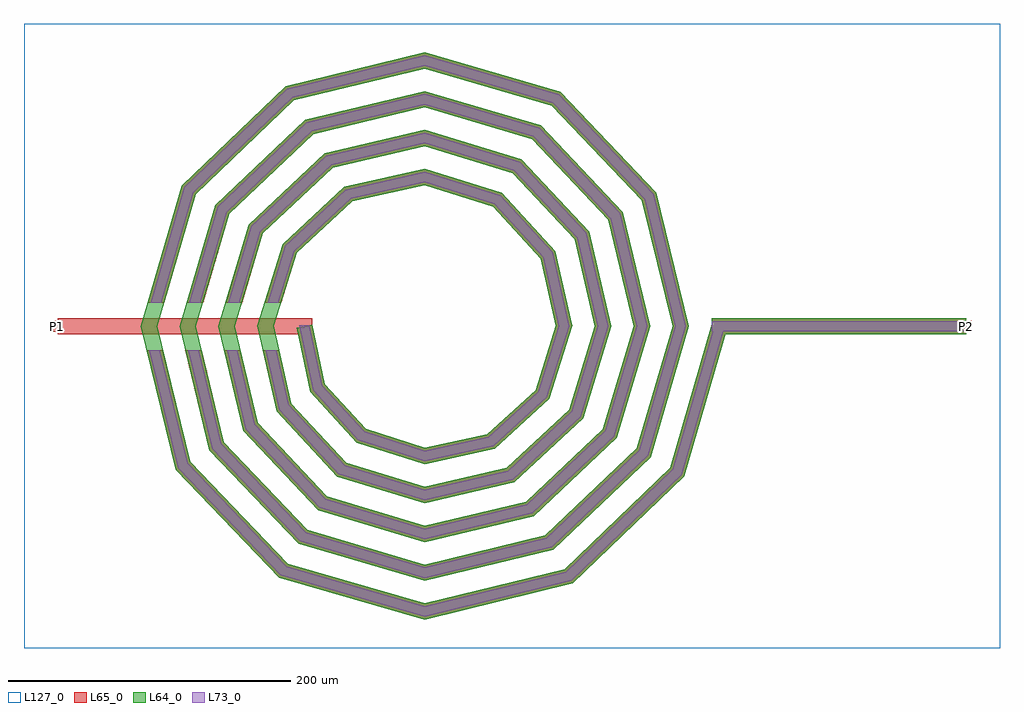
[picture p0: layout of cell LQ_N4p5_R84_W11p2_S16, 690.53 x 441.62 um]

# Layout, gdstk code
import gdstk
lib = gdstk.Library(unit=1e-6, precision=1e-09)
def R(c, l, rs):  # rectangles x0, y0, x1, y1
    for r in rs: c.add(gdstk.rectangle(r[:2], r[2:], *l))
def P(c, l, *ps):  # polygons
    for p in ps: c.add(gdstk.Polygon(p, *l))
L64_0 = (64, 0)
L65_0 = (65, 0)
L73_0 = (73, 0)
L127_0 = (127, 0)

lq_n4p5_r84_w11p2_s16 = lib.new_cell('LQ_N4p5_R84_W11p2_S16')
R(lq_n4p5_r84_w11p2_s16, L64_0, [(203.168,-5.6,383.168,5.6)])
P(lq_n4p5_r84_w11p2_s16, L64_0, [(-70.409,-40.978),(-41.639,-72.674),(0.27,-86.049),(44.399,-76.375),(78.62,-45.095),(92.927,0.251),(82.34,47.822),(48.548,84.568),(0.235,99.804),(-51.247,88.303),(-90.516,52),(-106.682,0.22),(-94.266,-54.674),(-55.45,-96.466),(0.208,-113.559),(58.102,-100.229),(102.416,-58.899),(120.437,0.196),(106.19,61.532),(62.347,108.367),(0.186,127.315),(-64.962,112.152),(-114.319,65.794),(-134.192,0.177),(-118.112,-68.393),(-69.24,-120.271),(0.169,-141.07),(71.825,-124.073),(126.223,-72.686),(147.948,0.161),(130.033,75.258),(76.131,132.176),(0.154,154.826),(-78.691,135.993),(-138.129,79.576),(-161.704,0.148),(-141.952,-82.125),(-83.02,-144.083),(0.142,-168.582),(85.559,-147.911),(150.036,-86.463),(175.46,0.137),(153.87,88.993),(89.907,155.99),(0.132,182.337),(-92.428,159.829),(-161.944,93.35),(-189.215,0.127),(-165.788,-95.863),(-96.793,-167.898),(0.123,-196.093),(99.298,-171.746),(173.853,-100.235),(203.39,1.561),(214.146,-1.561),(183.773,-106.24),(104.884,-181.908),(0.123,-207.686),(-102.804,-177.814),(-175.953,-101.442),(-200.808,0.127),(-171.855,99.369),(-97.999,169.999),(0.132,193.93),(95.934,165.896),(164.045,94.555),(187.052,0.137),(159.937,-92.5),(91.112,-158.091),(0.142,-180.174),(-89.065,-153.977),(-152.137,-87.668),(-173.296,0.148),(-148.018,85.631),(-84.223,146.183),(0.154,166.417),(82.198,142.058),(140.23,80.778),(159.539,0.161),(136.098,-78.765),(77.333,-134.277),(0.169,-152.661),(-75.333,-130.137),(-128.324,-73.887),(-145.783,0.177),(-124.176,71.901),(-70.44,122.372),(0.186,138.905),(68.47,118.215),(116.42,66.993),(132.026,0.196),(112.253,-65.04),(63.544,-110.469),(0.208,-125.148),(-61.611,-106.29),(-104.518,-60.094),(-118.27,0.22),(-100.326,58.183),(-56.643,98.568),(0.235,111.391),(54.757,94.362),(92.619,53.19),(104.512,0.251),(88.396,-51.332),(49.735,-86.671),(0.27,-97.634),(-47.91,-82.429),(-80.724,-46.278),(-90.438,-1.179),(-79.489,1.179)])
R(lq_n4p5_r84_w11p2_s16, L65_0, [(-259.364,-5.6,-79.364,5.6), (203.168,-5.6,383.168,5.6), (-263.364,-4,-255.364,4), (379.168,-4,387.168,4)])
P(lq_n4p5_r84_w11p2_s16, L65_0, [(-165.788,-95.863),(-96.793,-167.898),(0.123,-196.093),(99.298,-171.747),(173.853,-100.235),(203.39,1.561),(214.146,-1.561),(183.773,-106.24),(104.884,-181.908),(0.123,-207.686),(-102.804,-177.814),(-175.953,-101.442),(-196.666,-16.8),(-185.135,-16.8)],
  [(-141.952,-82.125),(-83.02,-144.083),(0.142,-168.582),(85.559,-147.911),(150.036,-86.464),(175.46,0.137),(153.87,88.993),(89.907,155.99),(0.132,182.338),(-92.428,159.829),(-161.944,93.35),(-184.277,16.8),(-195.944,16.8),(-171.855,99.369),(-97.999,169.999),(0.132,193.93),(95.934,165.896),(164.045,94.555),(187.052,0.137),(159.937,-92.5),(91.112,-158.091),(0.142,-180.174),(-89.065,-153.978),(-152.137,-87.668),(-169.212,-16.8),(-157.692,-16.8)],
  [(-118.112,-68.393),(-69.24,-120.271),(0.169,-141.07),(71.825,-124.073),(126.223,-72.686),(147.948,0.161),(130.033,75.258),(76.131,132.176),(0.154,154.826),(-78.691,135.993),(-138.129,79.576),(-156.692,16.8),(-168.372,16.8),(-148.018,85.631),(-84.223,146.183),(0.154,166.418),(82.198,142.058),(140.23,80.778),(159.539,0.161),(136.098,-78.765),(77.333,-134.277),(0.169,-152.661),(-75.333,-130.137),(-128.324,-73.887),(-141.781,-16.8),(-130.274,-16.8)],
  [(-94.266,-54.674),(-55.45,-96.466),(0.208,-113.559),(58.102,-100.229),(102.416,-58.899),(120.437,0.196),(106.19,61.532),(62.347,108.367),(0.186,127.315),(-64.962,112.152),(-114.319,65.794),(-129.078,16.8),(-140.775,16.8),(-124.176,71.901),(-70.44,122.372),(0.186,138.905),(68.47,118.215),(116.42,66.993),(132.026,0.196),(112.253,-65.04),(63.544,-110.469),(0.208,-125.148),(-61.611,-106.29),(-104.518,-60.094),(-114.389,-16.8),(-102.902,-16.8)],
  [(-41.639,-72.674),(0.27,-86.05),(44.399,-76.375),(78.62,-45.095),(92.927,0.251),(82.34,47.822),(48.548,84.568),(0.235,99.804),(-51.247,88.303),(-90.516,52),(-101.413,16.8),(-113.137,16.8),(-100.326,58.183),(-56.643,98.568),(0.235,111.391),(54.757,94.362),(92.619,53.19),(104.513,0.251),(88.396,-51.332),(49.735,-86.671),(0.27,-97.634),(-47.91,-82.429),(-80.724,-46.278),(-90.438,-1.179),(-79.489,1.179),(-70.409,-40.978)])
R(lq_n4p5_r84_w11p2_s16, L73_0, [(203.168,-3.6,383.168,3.6)])
P(lq_n4p5_r84_w11p2_s16, L73_0, [(-167.603,-96.859),(-97.866,-169.669),(0.079,-198.164),(100.296,-173.561),(175.624,-101.308),(205.31,1.003),(212.225,-1.003),(182.001,-105.168),(103.887,-180.093),(0.079,-205.616),(-101.731,-176.043),(-174.138,-100.445),(-194.607,-16.8),(-187.194,-16.8)],
  [(-143.771,-83.115),(-84.099,-145.85),(0.091,-170.652),(86.55,-149.729),(151.804,-87.541),(177.53,0.088),(155.687,89.986),(90.983,157.759),(0.085,184.408),(-93.423,161.645),(-163.714,94.425),(-186.36,16.8),(-193.861,16.8),(-170.085,98.294),(-97.004,168.183),(0.085,191.86),(94.858,164.127),(162.228,93.562),(184.982,0.088),(158.169,-91.422),(90.12,-156.273),(0.091,-178.104),(-87.986,-152.211),(-150.318,-86.678),(-167.155,-16.8),(-159.749,-16.8)],
  [(-119.936,-69.374),(-70.328,-122.033),(0.109,-143.14),(72.809,-125.895),(127.987,-73.772),(150.018,0.104),(131.854,76.244),(77.214,133.941),(0.099,156.896),(-79.679,137.812),(-139.895,80.657),(-158.778,16.8),(-166.286,16.8),(-146.252,84.55),(-83.235,144.364),(0.099,164.348),(81.115,140.293),(138.409,79.793),(157.469,0.104),(134.334,-77.68),(76.35,-132.455),(0.109,-150.591),(-74.245,-128.375),(-126.501,-72.906),(-139.726,-16.8),(-132.329,-16.8)],
  [(-96.097,-55.642),(-56.55,-98.22),(0.134,-115.629),(59.074,-102.057),(104.173,-59.996),(122.507,0.126),(108.017,62.507),(63.44,110.126),(0.12,129.384),(-65.94,113.977),(-116.079,66.885),(-131.167,16.8),(-138.687,16.8),(-122.416,70.811),(-69.462,120.547),(0.12,136.835),(67.377,116.456),(114.594,66.017),(129.957,0.126),(110.496,-63.943),(62.572,-108.64),(0.134,-123.079),(-60.511,-104.536),(-102.688,-59.126),(-112.338,-16.8),(-104.953,-16.8)],
  [(-42.759,-74.416),(0.174,-88.118),(45.352,-78.213),(80.366,-46.208),(94.996,0.161),(84.175,48.781),(49.657,86.317),(0.151,101.873),(-52.211,90.136),(-92.268,53.104),(-103.506,16.8),(-111.044,16.8),(-98.575,57.079),(-55.68,96.735),(0.151,109.322),(53.648,92.613),(90.783,52.232),(102.444,0.161),(86.651,-50.219),(48.782,-84.832),(0.174,-95.565),(-46.79,-80.687),(-78.882,-45.332),(-88.483,0.758),(-81.444,0.758),(-72.251,-41.925)])
R(lq_n4p5_r84_w11p2_s16, L127_0, [(-283.364,-227.686,407.168,213.93)])
lq_n4p5_r84_w11p2_s16.add(gdstk.Label('P2', (383.168,0), layer=65, texttype=0))
lq_n4p5_r84_w11p2_s16.add(gdstk.Label('P1', (-259.364,0), layer=65, texttype=0))
lq_n4p5_r84_w11p2_s16.add(gdstk.Label('P2', (387.168,0), layer=145, texttype=0))
lq_n4p5_r84_w11p2_s16.add(gdstk.Label('P1', (-263.364,0), layer=145, texttype=0))

lib.write_gds('LQ_N4p5_R84_W11p2_S16.gds')
